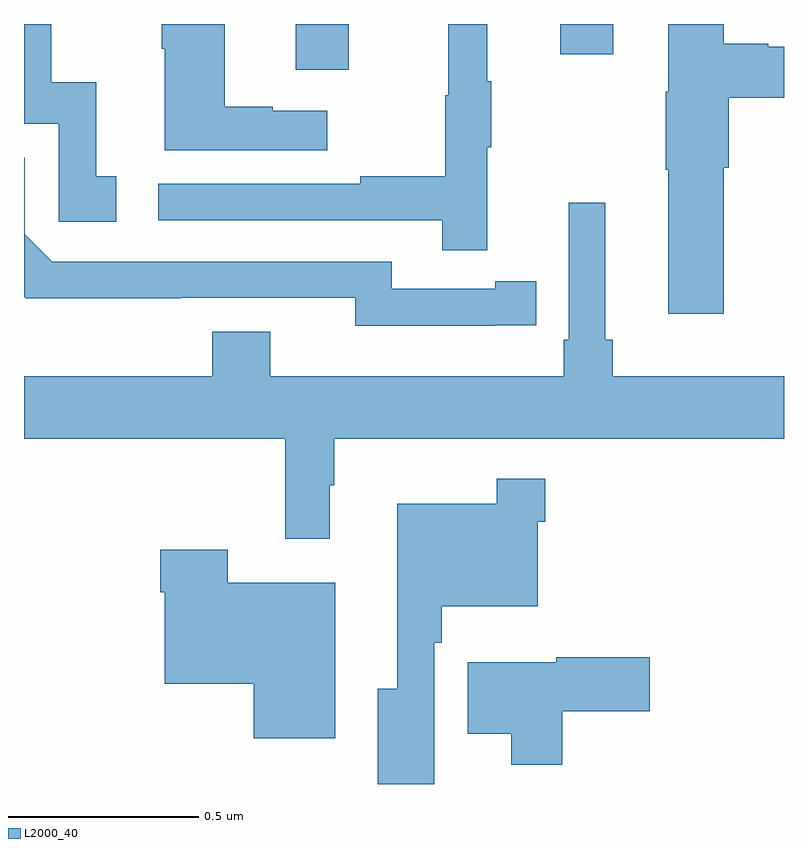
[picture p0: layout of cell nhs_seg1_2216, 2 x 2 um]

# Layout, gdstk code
import gdstk
lib = gdstk.Library(unit=1e-6, precision=1e-09)
def R(c, l, rs):  # rectangles x0, y0, x1, y1
    for r in rs: c.add(gdstk.rectangle(r[:2], r[2:], *l))
def P(c, l, *ps):  # polygons
    for p in ps: c.add(gdstk.Polygon(p, *l))
L2000_40 = (2000, 40)

nhs_seg1_2216 = lib.new_cell('nhs_seg1_2216')
R(nhs_seg1_2216, L2000_40, [(139.715,510.078,139.855,510.199), (140.411,510.12,140.551,510.199)])
P(nhs_seg1_2216, L2000_40, [(140.842,509.821),(140.855,509.821),(140.855,510.005),(141,510.005),(141,510.139),(140.958,510.139),(140.958,510.147),(140.842,510.147),(140.842,510.199),(140.696,510.199),(140.696,510.021),(140.689,510.021),(140.689,509.815),(140.696,509.815),(140.696,509.436),(140.842,509.436)],
  [(139.243,509.799),(139.19,509.799),(139.19,510.046),(139.072,510.046),(139.072,510.199),(139,510.199),(139,509.937),(139.092,509.937),(139.092,509.679),(139.243,509.679)],
  [(139.798,509.971),(139.655,509.971),(139.655,509.981),(139.528,509.981),(139.528,510.199),(139.363,510.199),(139.363,510.134),(139.37,510.134),(139.37,509.867),(139.798,509.867)],
  [(140.219,509.875),(140.23,509.875),(140.23,510.049),(140.219,510.049),(140.219,510.199),(140.116,510.199),(140.116,510.012),(140.109,510.012),(140.109,509.798),(139.885,509.798),(139.885,509.778),(139.353,509.778),(139.353,509.682),(140.101,509.682),(140.101,509.604),(140.219,509.604)],
  [(140.24,509.406),(140.348,509.406),(140.348,509.522),(140.24,509.522),(140.24,509.502),(139.968,509.502),(139.968,509.574),(139.074,509.574),(139.002,509.646),(139.002,509.847),(139,509.847),(139,509.481),(139.004,509.477),(139.412,509.477),(139.412,509.478),(139.872,509.478),(139.872,509.405),(140.24,509.405)],
  [(139.804,508.985),(139.816,508.985),(139.816,509.108),(141,509.108),(141,509.272),(140.549,509.272),(140.549,509.368),(140.53,509.368),(140.53,509.728),(140.433,509.728),(140.433,509.368),(140.42,509.368),(140.42,509.272),(139.648,509.272),(139.648,509.389),(139.496,509.389),(139.496,509.272),(139,509.272),(139,509.108),(139.687,509.108),(139.687,508.845),(139.804,508.845)],
  [(140.08,508.571),(140.099,508.571),(140.099,508.667),(140.352,508.667),(140.352,508.889),(140.372,508.889),(140.372,509.002),(140.244,509.002),(140.244,508.936),(139.982,508.936),(139.982,508.45),(139.931,508.45),(139.931,508.199),(140.08,508.199)],
  [(139.819,508.729),(139.536,508.729),(139.536,508.816),(139.358,508.816),(139.358,508.703),(139.37,508.703),(139.37,508.463),(139.604,508.463),(139.604,508.319),(139.819,508.319)],
  [(140.417,508.39),(140.647,508.39),(140.647,508.532),(140.4,508.532),(140.4,508.519),(140.168,508.519),(140.168,508.331),(140.282,508.331),(140.282,508.25),(140.417,508.25)])

lib.write_gds('nhs_seg1_2216.gds')
